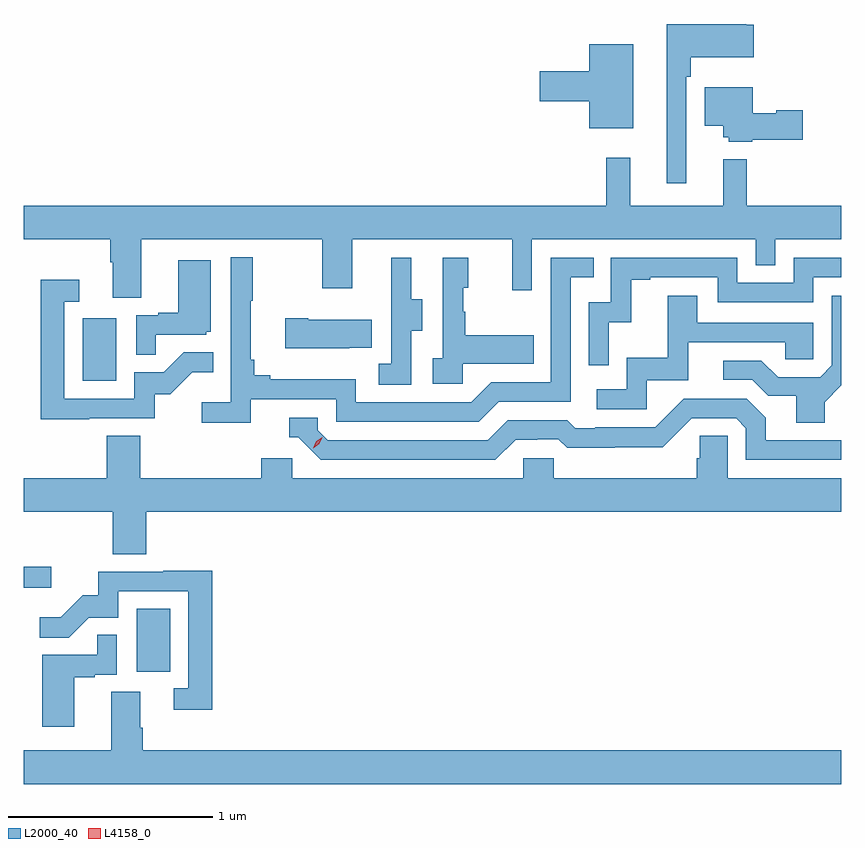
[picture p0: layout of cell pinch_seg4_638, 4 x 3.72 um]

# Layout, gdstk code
import gdstk
lib = gdstk.Library(unit=1e-6, precision=1e-09)
def R(c, l, rs):  # rectangles x0, y0, x1, y1
    for r in rs: c.add(gdstk.rectangle(r[:2], r[2:], *l))
def P(c, l, *ps):  # polygons
    for p in ps: c.add(gdstk.Polygon(p, *l))
L2000_40 = (2000, 40)
L4158_0 = (4158, 0)

pinch_seg4_638 = lib.new_cell('pinch_seg4_638')
R(pinch_seg4_638, L2000_40, [(1046.258,758.742,1046.422,759.049), (1045.705,759.152,1045.84,759.254), (1045.994,760.164,1046.158,760.471)])
P(pinch_seg4_638, L2000_40, [(1048.947,761.651),(1048.967,761.651),(1048.967,761.747),(1049.275,761.747),(1049.275,761.905),(1049.24,761.905),(1049.24,761.909),(1048.85,761.909),(1048.85,761.13),(1048.947,761.13)],
  [(1048.687,761.809),(1048.472,761.809),(1048.472,761.678),(1048.23,761.678),(1048.23,761.531),(1048.472,761.531),(1048.472,761.399),(1048.687,761.399)],
  [(1049.268,761.344),(1049.515,761.344),(1049.515,761.486),(1049.385,761.486),(1049.385,761.473),(1049.272,761.473),(1049.272,761.599),(1049.036,761.599),(1049.036,761.411),(1049.126,761.411),(1049.126,761.355),(1049.154,761.355),(1049.154,761.333),(1049.268,761.333)],
  [(1046.281,760.856),(1047.166,760.856),(1047.166,760.617),(1047.313,760.617),(1047.313,760.856),(1048.094,760.856),(1048.094,760.608),(1048.191,760.608),(1048.191,760.856),(1049.286,760.856),(1049.286,760.729),(1049.382,760.729),(1049.382,760.856),(1049.705,760.856),(1049.705,761.02),(1049.243,761.02),(1049.243,761.248),(1049.126,761.248),(1049.126,761.02),(1048.673,761.02),(1048.673,761.254),(1048.555,761.254),(1048.555,761.02),(1045.705,761.02),(1045.705,760.856),(1046.129,760.856),(1046.129,760.744),(1046.141,760.744),(1046.141,760.57),(1046.281,760.57)],
  [(1046.816,760.074),(1047.234,760.074),(1047.234,759.963),(1047.931,759.963),(1048.03,760.062),(1048.38,760.062),(1048.38,760.671),(1048.493,760.671),(1048.493,760.767),(1048.284,760.767),(1048.284,760.158),(1047.993,760.158),(1047.894,760.059),(1047.33,760.059),(1047.33,760.171),(1046.911,760.171),(1046.911,760.19),(1046.834,760.19),(1046.834,760.267),(1046.815,760.267),(1046.815,760.555),(1046.827,760.555),(1046.827,760.768),(1046.718,760.768),(1046.718,760.06),(1046.577,760.06),(1046.577,759.958),(1046.816,759.958)],
  [(1048.566,760.451),(1048.676,760.451),(1048.676,760.659),(1048.771,760.659),(1048.771,760.671),(1049.1,760.671),(1049.1,760.548),(1049.568,760.548),(1049.568,760.671),(1049.705,760.671),(1049.705,760.767),(1049.472,760.767),(1049.472,760.644),(1049.196,760.644),(1049.196,760.767),(1048.578,760.767),(1048.578,760.548),(1048.47,760.548),(1048.47,760.239),(1048.566,760.239)],
  [(1047.852,760.247),(1048.199,760.247),(1048.199,760.387),(1047.865,760.387),(1047.865,760.502),(1047.855,760.502),(1047.855,760.62),(1047.88,760.62),(1047.88,760.765),(1047.756,760.765),(1047.756,760.274),(1047.705,760.274),(1047.705,760.149),(1047.852,760.149)],
  [(1047.6,760.408),(1047.655,760.408),(1047.655,760.563),(1047.601,760.563),(1047.601,760.765),(1047.503,760.765),(1047.503,760.551),(1047.504,760.551),(1047.504,760.247),(1047.441,760.247),(1047.441,760.144),(1047.6,760.144)],
  [(1046.351,760.389),(1046.598,760.389),(1046.598,760.404),(1046.62,760.404),(1046.62,760.753),(1046.462,760.753),(1046.462,760.498),(1046.363,760.498),(1046.363,760.485),(1046.256,760.485),(1046.256,760.291),(1046.351,760.291)],
  [(1046.027,759.981),(1046.346,759.981),(1046.346,760.098),(1046.422,760.098),(1046.529,760.205),(1046.633,760.205),(1046.633,760.304),(1046.489,760.304),(1046.391,760.206),(1046.247,760.206),(1046.247,760.077),(1045.905,760.077),(1045.905,760.551),(1045.978,760.551),(1045.978,760.657),(1045.789,760.657),(1045.789,759.976),(1046.027,759.976)],
  [(1048.752,760.167),(1048.957,760.167),(1048.957,760.353),(1049.431,760.353),(1049.431,760.269),(1049.568,760.269),(1049.568,760.449),(1048.999,760.449),(1048.999,760.579),(1048.855,760.579),(1048.855,760.276),(1048.656,760.276),(1048.656,760.122),(1048.509,760.122),(1048.509,760.026),(1048.752,760.026)],
  [(1049.623,760.06),(1049.705,760.142),(1049.705,760.579),(1049.658,760.579),(1049.658,760.239),(1049.601,760.182),(1049.395,760.182),(1049.314,760.263),(1049.127,760.263),(1049.127,760.17),(1049.268,760.17),(1049.348,760.09),(1049.483,760.09),(1049.483,759.958),(1049.623,759.958)],
  [(1047.299,760.325),(1047.407,760.325),(1047.407,760.462),(1047.097,760.462),(1047.097,760.47),(1046.985,760.47),(1046.985,760.322),(1047.299,760.322)],
  [(1048.111,759.876),(1048.218,759.876),(1048.218,759.879),(1048.321,759.879),(1048.363,759.837),(1048.596,759.837),(1048.596,759.839),(1048.832,759.839),(1048.974,759.981),(1049.19,759.981),(1049.238,759.933),(1049.238,759.777),(1049.705,759.777),(1049.705,759.873),(1049.335,759.873),(1049.335,759.983),(1049.241,760.077),(1048.935,760.077),(1048.794,759.936),(1048.501,759.936),(1048.501,759.933),(1048.402,759.933),(1048.363,759.972),(1048.074,759.972),(1047.975,759.873),(1047.192,759.873),(1047.144,759.921),(1047.144,759.984),(1047.005,759.984),(1047.005,759.888),(1047.048,759.888),(1047.159,759.777),(1048.012,759.777)],
  [(1046.305,759.524),(1049.705,759.524),(1049.705,759.688),(1049.148,759.688),(1049.148,759.896),(1049.011,759.896),(1049.011,759.786),(1048.997,759.786),(1048.997,759.688),(1048.299,759.688),(1048.299,759.786),(1048.149,759.786),(1048.149,759.688),(1047.018,759.688),(1047.018,759.786),(1046.867,759.786),(1046.867,759.688),(1046.276,759.688),(1046.276,759.896),(1046.111,759.896),(1046.111,759.688),(1045.705,759.688),(1045.705,759.524),(1046.141,759.524),(1046.141,759.316),(1046.305,759.316)],
  [(1046.627,759.236),(1046.389,759.236),(1046.389,759.231),(1046.071,759.231),(1046.071,759.114),(1045.994,759.114),(1045.887,759.007),(1045.783,759.007),(1045.783,758.908),(1045.927,758.908),(1046.025,759.006),(1046.169,759.006),(1046.169,759.135),(1046.511,759.135),(1046.511,758.661),(1046.439,758.661),(1046.439,758.556),(1046.627,758.556)],
  [(1045.954,758.715),(1046.054,758.715),(1046.054,758.727),(1046.16,758.727),(1046.16,758.921),(1046.065,758.921),(1046.065,758.823),(1045.796,758.823),(1045.796,758.472),(1045.954,758.472)],
  [(1049.705,758.356),(1046.288,758.356),(1046.288,758.468),(1046.275,758.468),(1046.275,758.642),(1046.135,758.642),(1046.135,758.356),(1045.705,758.356),(1045.705,758.192),(1049.705,758.192)])
P(pinch_seg4_638, L4158_0, [(1047.121,759.835),(1047.121,759.835),(1047.136,759.868),(1047.167,759.888),(1047.167,759.888),(1047.167,759.888),(1047.152,759.855),(1047.122,759.835)])

lib.write_gds('pinch_seg4_638.gds')
